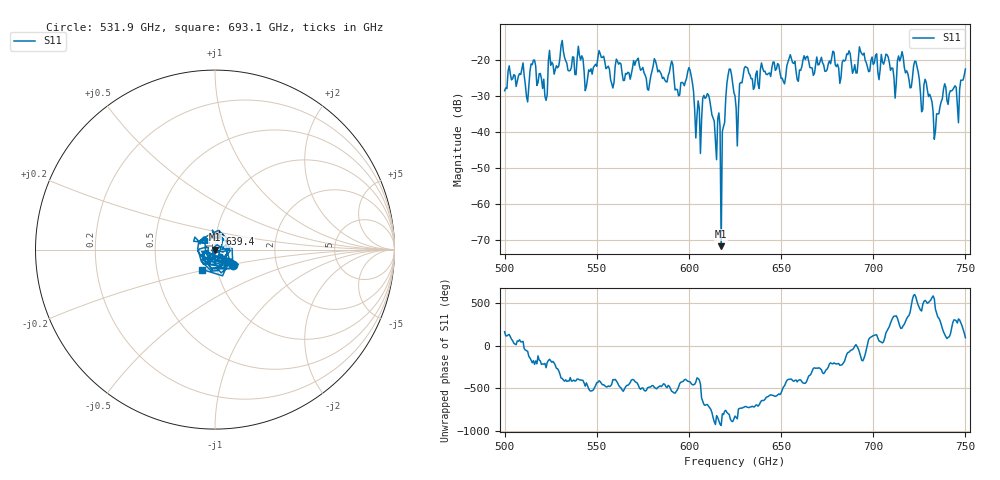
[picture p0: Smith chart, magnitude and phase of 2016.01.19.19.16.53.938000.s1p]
!Created with skrf (http://scikit-rf.org).
# GHz S RI R 50.0
!freq ReS11 ImS11
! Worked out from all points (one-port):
!   401 points, 500 GHz to 750 GHz, reference 50 ohm
!   lowest |S11| = -71.7 dB at 617.5 GHz (marker M1), VSWR 1.00, Z = 50 + j0.0156 ohm
!   |S11| at or under -10 dB: start of sweep to end of sweep
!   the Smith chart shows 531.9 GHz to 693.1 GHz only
!   S11 on the Smith chart (normalised r, x): 531.9 GHz: 1.20, -0.21; 639.4 GHz: 1.03, +0.18; 693.1 GHz: 0.85, -0.19
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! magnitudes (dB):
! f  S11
! 500 GHz  -28.5
! 512.5 GHz  -31.7
! 515.6 GHz  -20.1
! 521.9 GHz  -30.1
! 531.2 GHz  -14.6
! 531.9 GHz  -17.6
! 544.4 GHz  -27.4
! 551.9 GHz  -18.3
! 562.5 GHz  -20.8
! 590 GHz  -21.7
! 593.8 GHz  -28.2
! 600.6 GHz  -22.8
! 605 GHz  -31.4
! 610 GHz  -29.4
! 617.5 GHz  -71.7
! 621.9 GHz  -22.5
! 625 GHz  -30.0
! 630.6 GHz  -21.8
! 639.4 GHz  -20.8
! 656.2 GHz  -20.8
! 687.5 GHz  -18.2
! 693.1 GHz  -17.6
! 718.8 GHz  -23.8
! 723.1 GHz  -20.4
! 734.4 GHz  -34.9
! 738.1 GHz  -28.2
! 745.6 GHz  -32.4
! 750 GHz  -22.5
